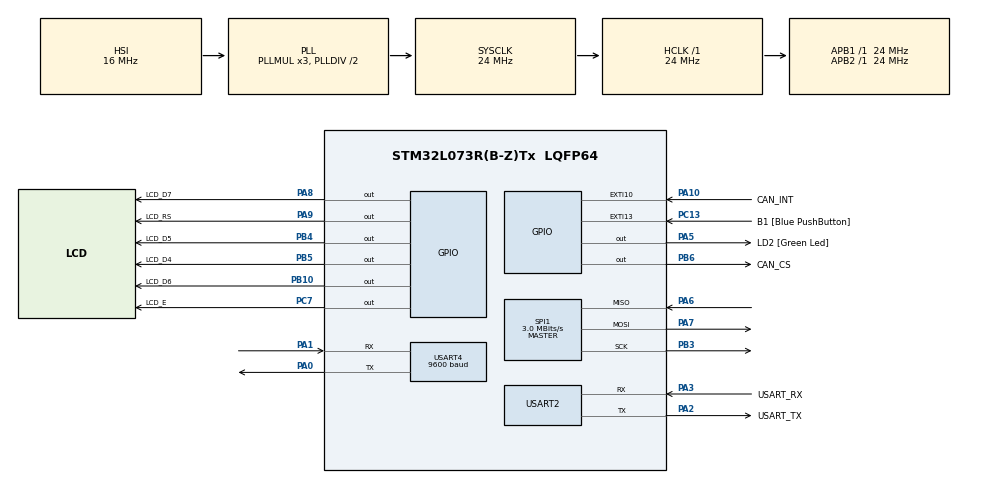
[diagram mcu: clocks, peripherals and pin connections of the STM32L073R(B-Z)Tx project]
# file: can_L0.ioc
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Mcu.Family=STM32L0
Mcu.Name=STM32L073R(B-Z)Tx
Mcu.Package=LQFP64
NVIC.EXTI4_15_IRQn=true\:0\:0\:false\:false\:true\:true\:true\:true
PA0.Mode=Asynchronous
PA0.Signal=USART4_TX
PA1.Mode=Asynchronous
PA1.Signal=USART4_RX
PA10.GPIO_Label=CAN_INT
PA10.GPIO_ModeDefaultEXTI=GPIO_MODE_IT_FALLING
PA10.Signal=GPXTI10
PA13.GPIO_Label=TMS
PA13.Mode=Serial_Wire
PA13.Signal=SYS_SWDIO
PA14.GPIO_Label=TCK
PA14.Mode=Serial_Wire
PA14.Signal=SYS_SWCLK
PA2.GPIO_Label=USART_TX
PA2.Mode=Asynchronous
PA2.Signal=USART2_TX
PA3.GPIO_Label=USART_RX
PA3.Mode=Asynchronous
PA3.Signal=USART2_RX
PA5.GPIO_Label=LD2 [Green Led]
PA5.Signal=GPIO_Output
PA6.Mode=Full_Duplex_Master
PA6.Signal=SPI1_MISO
PA7.Mode=Full_Duplex_Master
PA7.Signal=SPI1_MOSI
PA8.GPIO_Label=LCD_D7
PA8.GPIO_Speed=GPIO_SPEED_FREQ_HIGH
PA8.Signal=GPIO_Output
PA9.GPIO_Label=LCD_RS
PA9.GPIO_Speed=GPIO_SPEED_FREQ_HIGH
PA9.Signal=GPIO_Output
PB10.GPIO_Label=LCD_D6
PB10.GPIO_Speed=GPIO_SPEED_FREQ_HIGH
PB10.Signal=GPIO_Output
PB3.Mode=Full_Duplex_Master
PB3.Signal=SPI1_SCK
PB4.GPIO_Label=LCD_D5
PB4.GPIO_Speed=GPIO_SPEED_FREQ_HIGH
PB4.Signal=GPIO_Output
PB5.GPIO_Label=LCD_D4
PB5.GPIO_Speed=GPIO_SPEED_FREQ_HIGH
PB5.Signal=GPIO_Output
PB6.GPIO_Label=CAN_CS
PB6.GPIO_Speed=GPIO_SPEED_FREQ_MEDIUM
PB6.PinState=GPIO_PIN_SET
PB6.Signal=GPIO_Output
PC13.GPIO_Label=B1 [Blue PushButton]
PC13.GPIO_ModeDefaultEXTI=GPIO_MODE_IT_FALLING
PC13.Signal=GPXTI13
PC14-OSC32_IN.Mode=LSE-External-Oscillator
PC14-OSC32_IN.Signal=RCC_OSC32_IN
PC15-OSC32_OUT.Mode=LSE-External-Oscillator
PC15-OSC32_OUT.Signal=RCC_OSC32_OUT
PC7.GPIO_Label=LCD_E
PC7.GPIO_Speed=GPIO_SPEED_FREQ_HIGH
PC7.Signal=GPIO_Output
PH0-OSC_IN.GPIO_Label=MCO
PH0-OSC_IN.Mode=HSE-External-Clock-Source
PH0-OSC_IN.Signal=RCC_OSC_IN
ProjectManager.HeapSize=0x200
ProjectManager.StackSize=0x400
ProjectManager.TargetToolchain=MDK-ARM V5.32
RCC.AHBFreq_Value=24000000
RCC.APB1Freq_Value=24000000
RCC.APB1TimFreq_Value=24000000
RCC.APB2Freq_Value=24000000
RCC.APB2TimFreq_Value=24000000
RCC.HCLKFreq_Value=24000000
RCC.HSE_VALUE=8000000
RCC.HSI16_VALUE=16000000
RCC.HSI48_VALUE=48000000
RCC.HSI_VALUE=16000000
RCC.MSI_VALUE=2097000
RCC.SYSCLKFreq_VALUE=24000000
RCC.SYSCLKSource=RCC_SYSCLKSOURCE_PLLCLK
RCC.VCOOutputFreq_Value=48000000
SPI1.BaudRatePrescaler=SPI_BAUDRATEPRESCALER_8
SPI1.CalculateBaudRate=3.0 MBits/s
SPI1.Direction=SPI_DIRECTION_2LINES
SPI1.Mode=SPI_MODE_MASTER
SPI1.VirtualType=VM_MASTER
USART2.VirtualMode-Asynchronous=VM_ASYNC
USART4.BaudRate=9600
USART4.VirtualMode-Asynchronous=VM_ASYNC
board=NUCLEO-L073RZ

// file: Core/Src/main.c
/* USER CODE BEGIN Header */
/**
  ******************************************************************************
  * @file           : main.c
  * @brief          : Main program body
  ******************************************************************************
  * @attention
  *
  * Copyright (c) 2025 STMicroelectronics.
  * All rights reserved.
  *
  * This software is licensed under terms that can be found in the LICENSE file
  * in the root directory of this software component.
  * If no LICENSE file comes with this software, it is provided AS-IS.
  *
  ******************************************************************************
  */
/* USER CODE END Header */
#include "main.h"
#include "spi.h"
#include "usart.h"
#include "gpio.h"

/* USER CODE BEGIN Includes */
#include "CANSPI.h"
#include "lcd.h"
#include "stdio.h"
#include "MCP2515.h"
#include "DFPLAYER_MINI.h"
#include "string.h"
#include "hw_vcom.h"
/* USER CODE END Includes */

/* USER CODE BEGIN PD */
#define BUFSIZE 128
/* USER CODE END PD */

/* USER CODE BEGIN PV */
extern UART_HandleTypeDef huart2; // USART2
extern UART_HandleTypeDef huart4; // USART4
uCAN_MSG rxMessage;
/* USER CODE END PV */

void SystemClock_Config(void);

/* USER CODE BEGIN 0 */
volatile uint8_t can_rx_flag = 1;
volatile uint8_t driving_flag = 1;

void HAL_GPIO_EXTI_Callback(uint16_t GPIO_Pin)
{
	 if (GPIO_Pin == CAN_INT_Pin)  // PB9 INT
    {
				can_rx_flag = 1;
				HAL_ResumeTick();
    }
}
/* USER CODE END 0 */

int main(void)
{

  /* MCU Configuration--------------------------------------------------------*/

  /* Reset of all peripherals, Initializes the Flash interface and the Systick. */
  HAL_Init();

  /* Configure the system clock */
  SystemClock_Config();

  /* Initialize all configured peripherals */
  MX_GPIO_Init();
  MX_SPI1_Init();
  MX_USART2_UART_Init();
  MX_USART4_UART_Init();
  /* USER CODE BEGIN 2 */
	HW_VCOM_Init(&huart2);
	DF_Init(20);
  CANSPI_Initialize();
	lcd_init();

	MCP2515_EnableInterrupts();

	DF_Resume();
  Printf("DF_Init finished\r\n");
  HAL_Delay(100);

	Sound_Track(1);
	HAL_Delay(100);

  DF_Pause(); // pause
  Printf("DF_Pause \r\n");
  HAL_Delay(1000);
	Printf("now int pin : %d\r\n", HAL_GPIO_ReadPin(CAN_INT_GPIO_Port, CAN_INT_Pin));
	Printf("now driving mode : %d\r\n", driving_flag);

  static int lcdCnt = 0;
	static char buf[32];
	static uint8_t musicNumber;
	/* USER CODE END 2 */

  /* Infinite loop */
  /* USER CODE BEGIN WHILE */
  while (1)
  {
		// sleeping_mode
		if (driving_flag == 0 && can_rx_flag)
		{
				can_rx_flag = 0;
				while(CANSPI_messagesInBuffer() > 0)
				{
					if (CANSPI_Receive(&rxMessage))
					{
						// Set song number from Raspberry pi CAN messege !!!!!!!!!!!!
						// STM32 check
						switch (rxMessage.frame.id)
						{
							// wakeup message
							case 0x1:
								Printf("Wake up Message Received\r\n");
								break;
							// TextLcd message
							case 0x10:
								// store 8 bytes to buf
								Printf("%d th PrintLcd Message Received\r\n", lcdCnt + 1);
								if (lcdCnt < 4)
								{
										buf[lcdCnt * 8 + 0] = rxMessage.frame.data0;
										buf[lcdCnt * 8 + 1] = rxMessage.frame.data1;
										buf[lcdCnt * 8 + 2] = rxMessage.frame.data2;
										buf[lcdCnt * 8 + 3] = rxMessage.frame.data3;
										buf[lcdCnt * 8 + 4] = rxMessage.frame.data4;
										buf[lcdCnt * 8 + 5] = rxMessage.frame.data5;
										buf[lcdCnt * 8 + 6] = rxMessage.frame.data6;
										buf[lcdCnt * 8 + 7] = rxMessage.frame.data7;

										lcdCnt++;
								}

								// print lcd
								if (lcdCnt == 4)
								{
										buf[31] = '\0';  // null-terminate
										Printf("Print Message : %s\r\n", buf);
										lcd_clear();
										lcd_goto(0, 0);
										lcd_print((char*)buf);  // buf[0~15]

										lcd_goto(1, 0);
										lcd_print((char*)&buf[16]); // buf[16~31]

										lcdCnt = 0;  // clear buf
								}
								break;
							// DFPlayer StartMusic
							case 0x05:
								musicNumber = rxMessage.frame.data0;
								Printf("%d Music Starts\r\n", musicNumber);
								if (musicNumber >= 1 && musicNumber <= 3)
								{
									Sound_Track(musicNumber);
								}
								break;
							// DFPlayer EndMusic
							case 0x06:
								Printf("Music Pauses\r\n");
								DF_Pause();
								break;
							// Resume Music
							case 0x07:
								Printf("Music Resume\r\n");
								DF_Resume();
								break;
							// DFPlayer Volume Up
							case 0x08:
								Printf("Music Volume Up\r\n");
								DF_Volume_Up();
								break;
							// DFPlayer Volume Down
							case 0x09:
								Printf("Music Volume Down\r\n");
								DF_Volume_Down();
								break;
							//  Sleep Message
							case 0x02:
								Printf("Goes to Sleep\r\n");
								HAL_SuspendTick();
								HAL_PWR_EnterSLEEPMode(PWR_MAINREGULATOR_ON, PWR_SLEEPENTRY_WFI);
								break;
							default:
								Printf("Default : %d\r\n", rxMessage.frame.id);
								break;
						}
					}
				}
		}
		// driving mode
		else if (driving_flag && can_rx_flag)
		{
			can_rx_flag = 0;
			while(CANSPI_messagesInBuffer() > 0)
				{
					if (CANSPI_Receive(&rxMessage))
					{
						// Set song number from Raspberry pi CAN messege !!!!!!!!!!!!
						// STM32 check
						switch (rxMessage.frame.id)
						{
							// wakeup message
							case 0x1:
								Printf("Wake up Message Received\r\n");
								break;
							// TextLcd message
							case 0x10:
								// store 8 bytes to buf
								Printf("%d th PrintLcd Message Received\r\n", lcdCnt + 1);
								if (lcdCnt < 4)
								{
										buf[lcdCnt * 8 + 0] = rxMessage.frame.data0;
										buf[lcdCnt * 8 + 1] = rxMessage.frame.data1;
										buf[lcdCnt * 8 + 2] = rxMessage.frame.data2;
										buf[lcdCnt * 8 + 3] = rxMessage.frame.data3;
										buf[lcdCnt * 8 + 4] = rxMessage.frame.data4;
										buf[lcdCnt * 8 + 5] = rxMessage.frame.data5;
										buf[lcdCnt * 8 + 6] = rxMessage.frame.data6;
										buf[lcdCnt * 8 + 7] = rxMessage.frame.data7;

										lcdCnt++;
								}

								// print lcd
								if (lcdCnt == 4)
								{
										buf[31] = '\0';  // null-terminate
										Printf("Print Message : %s\r\n", buf);
										lcd_clear();
										lcd_goto(0, 0);
										lcd_print((char*)buf);  // buf[0~15]

										lcd_goto(1, 0);
										lcd_print((char*)&buf[16]); // buf[16~31]

										lcdCnt = 0;  // clear buf
								}
								break;
							// DFPlayer StartMusic
							case 0x05:
								musicNumber = rxMessage.frame.data0;
								Printf("%d Music Starts\r\n", musicNumber);
								if (musicNumber >= 1 && musicNumber <= 3)
								{
									Sound_Track(musicNumber);
								}
								break;
							// DFPlayer EndMusic
							case 0x06:
								Printf("Music Pauses\r\n");
								DF_Pause();
								break;
							// Resume Music
							case 0x07:
								Printf("Music Resume\r\n");
								DF_Resume();
								break;
							// DFPlayer Volume Up
							case 0x08:
								Printf("Music Volume Up\r\n");
								DF_Volume_Up();
								break;
							// DFPlayer Volume Down
							case 0x09:
								Printf("Music Volume Down\r\n");
								DF_Volume_Down();
								break;
							//  Sleep Message
							case 0x02:
								Printf("Goes to Sleep\r\n");
								driving_flag = 0;
								HAL_SuspendTick();
								HAL_PWR_EnterSLEEPMode(PWR_MAINREGULATOR_ON, PWR_SLEEPENTRY_WFI);
								break;
							default:
								Printf("Defuault : %d\r\n", rxMessage.frame.id);
								break;
						}
					}
				}
		}
  }
    /* USER CODE END WHILE */

}

void SystemClock_Config(void)
{
  RCC_OscInitTypeDef RCC_OscInitStruct = {0};
  RCC_ClkInitTypeDef RCC_ClkInitStruct = {0};
  RCC_PeriphCLKInitTypeDef PeriphClkInit = {0};

  /** Configure the main internal regulator output voltage
  */
  __HAL_PWR_VOLTAGESCALING_CONFIG(PWR_REGULATOR_VOLTAGE_SCALE1);

  /** Initializes the RCC Oscillators according to the specified parameters
  * in the RCC_OscInitTypeDef structure.
  */
  RCC_OscInitStruct.OscillatorType = RCC_OSCILLATORTYPE_HSI;
  RCC_OscInitStruct.HSIState = RCC_HSI_ON;
  RCC_OscInitStruct.HSICalibrationValue = RCC_HSICALIBRATION_DEFAULT;
  RCC_OscInitStruct.PLL.PLLState = RCC_PLL_ON;
  RCC_OscInitStruct.PLL.PLLSource = RCC_PLLSOURCE_HSI;
  RCC_OscInitStruct.PLL.PLLMUL = RCC_PLLMUL_3;
  RCC_OscInitStruct.PLL.PLLDIV = RCC_PLLDIV_2;
  if (HAL_RCC_OscConfig(&RCC_OscInitStruct) != HAL_OK)
  {
    Error_Handler();
  }

  /** Initializes the CPU, AHB and APB buses clocks
  */
  RCC_ClkInitStruct.ClockType = RCC_CLOCKTYPE_HCLK|RCC_CLOCKTYPE_SYSCLK
                              |RCC_CLOCKTYPE_PCLK1|RCC_CLOCKTYPE_PCLK2;
  RCC_ClkInitStruct.SYSCLKSource = RCC_SYSCLKSOURCE_PLLCLK;
  RCC_ClkInitStruct.AHBCLKDivider = RCC_SYSCLK_DIV1;
  RCC_ClkInitStruct.APB1CLKDivider = RCC_HCLK_DIV1;
  RCC_ClkInitStruct.APB2CLKDivider = RCC_HCLK_DIV1;

  if (HAL_RCC_ClockConfig(&RCC_ClkInitStruct, FLASH_LATENCY_1) != HAL_OK)
  {
    Error_Handler();
  }
  PeriphClkInit.PeriphClockSelection = RCC_PERIPHCLK_USART2;
  PeriphClkInit.Usart2ClockSelection = RCC_USART2CLKSOURCE_PCLK1;
  if (HAL_RCCEx_PeriphCLKConfig(&PeriphClkInit) != HAL_OK)
  {
    Error_Handler();
  }
}

void Error_Handler(void)
{
  __disable_irq();
  while (1)
  {
  }
}
